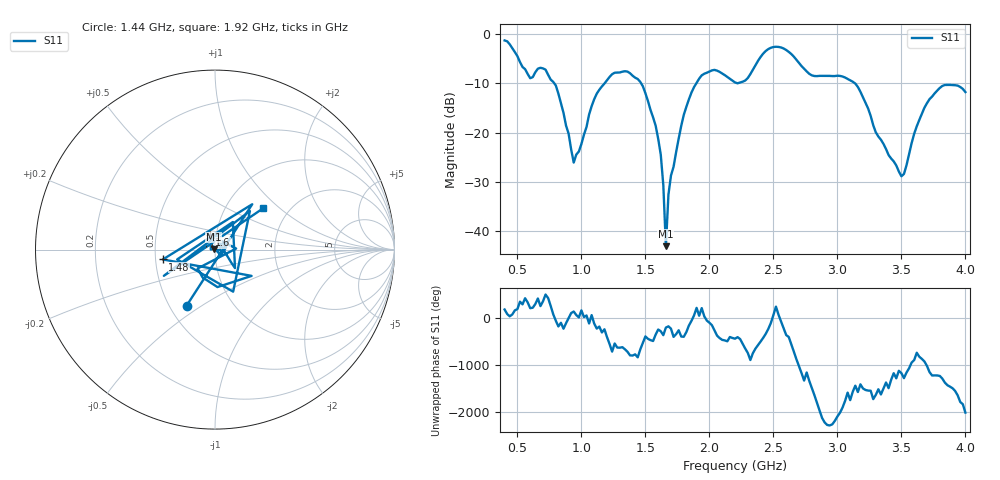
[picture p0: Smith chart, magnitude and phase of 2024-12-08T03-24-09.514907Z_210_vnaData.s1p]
!Created with skrf (http://scikit-rf.org).
# Hz S RI R 50.0
!freq ReS11 ImS11
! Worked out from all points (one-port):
!   181 points, 400 MHz to 4 GHz, reference 50 ohm
!   lowest |S11| = -43.0 dB at 1.66 GHz (marker M1), VSWR 1.01, Z = 49.4 + j0.338 ohm
!   |S11| at or under -10 dB: 788 MHz to 1.181 GHz (393.2 MHz wide, 39.9 % of centre); 1.467 GHz to 1.898 GHz (430.9 MHz wide, 25.6 % of centre); 3.138 GHz to end of sweep
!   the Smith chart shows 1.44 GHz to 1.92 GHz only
!   S11 on the Smith chart (normalised r, x): 1.44 GHz: 0.61, -0.43; 1.48 GHz: 0.55, -0.07; 1.6 GHz: 0.93, +0.15; 1.92 GHz: 1.49, +0.78
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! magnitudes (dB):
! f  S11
! 400 MHz  -1.3
! 600 MHz  -9.0
! 720 MHz  -7.2
! 800 MHz  -10.4
! 860 MHz  -16.0
! 940 MHz  -26.1
! 1.12 GHz  -12.1
! 1.3 GHz  -7.8
! 1.44 GHz  -9.1
! 1.48 GHz  -10.6
! 1.6 GHz  -21.2
! 1.64 GHz  -30.7
! 1.66 GHz  -43.0
! 1.68 GHz  -32.6
! 1.76 GHz  -21.2
! 1.82 GHz  -14.8
! 1.92 GHz  -9.0
! 2.04 GHz  -7.3
! 2.2 GHz  -9.8
! 2.48 GHz  -2.8
! 2.66 GHz  -4.6
! 2.8 GHz  -8.4
! 3.1 GHz  -9.4
! 3.5 GHz  -28.8
! 3.56 GHz  -24.3
! 3.68 GHz  -14.9
! 3.76 GHz  -12.0
! 4 GHz  -11.8
